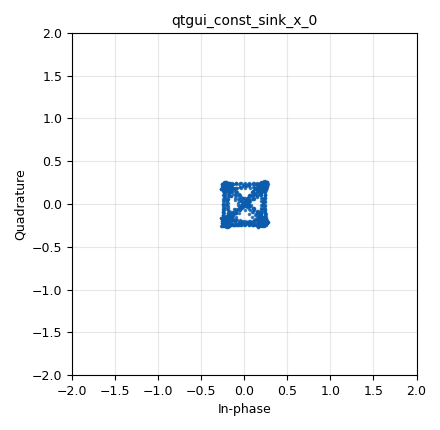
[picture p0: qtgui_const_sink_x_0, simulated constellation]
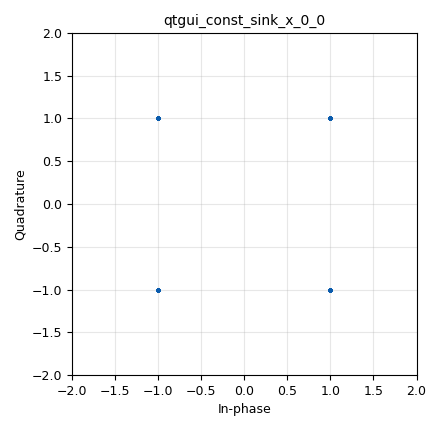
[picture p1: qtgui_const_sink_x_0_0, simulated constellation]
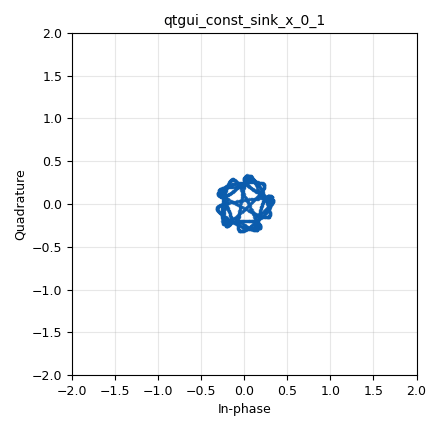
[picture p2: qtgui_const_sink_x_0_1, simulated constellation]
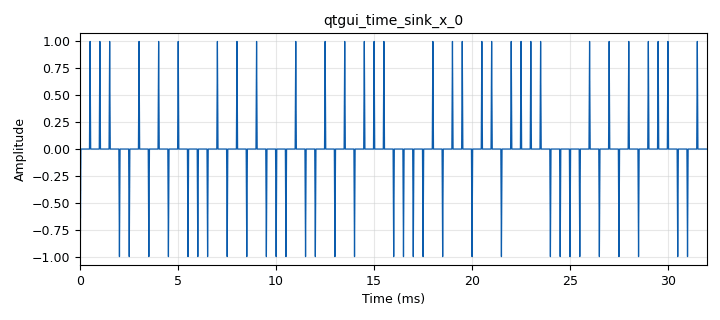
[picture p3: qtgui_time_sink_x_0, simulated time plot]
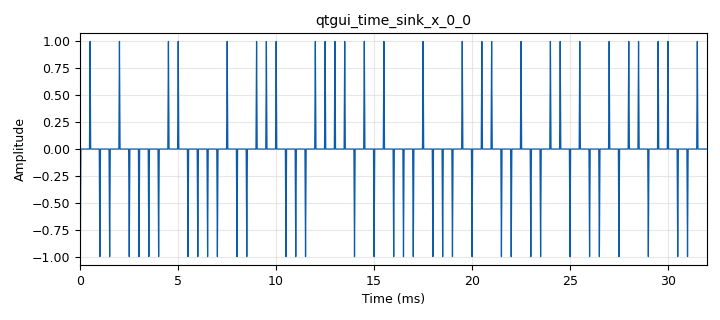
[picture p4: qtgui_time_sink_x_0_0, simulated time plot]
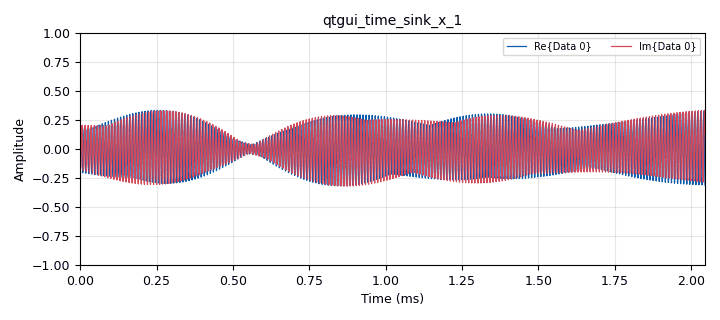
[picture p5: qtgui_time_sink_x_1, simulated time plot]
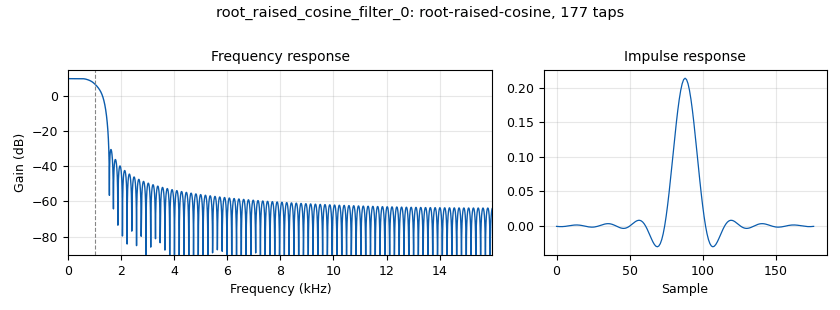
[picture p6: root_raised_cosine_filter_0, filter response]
options:
  parameters:
    generate_options: qt_gui
    id: qpsk
    output_language: python
    title: Not titled yet
  states: {}

blocks:
- name: alpha
  id: variable_qtgui_range
  parameters:
    start: '0'
    step: '0.1'
    stop: '1'
    value: '0.5'
  states: {}
- name: const_points
  id: variable
  parameters:
    value: '4'
  states: {}
- name: samp_rate
  id: variable
  parameters:
    value: '500000'
  states: {}
- name: sps
  id: variable
  parameters:
    value: '16'
  states: {}
- name: symb_rate
  id: variable
  parameters:
    value: '2000'
  states: {}
- name: analog_random_source_x_0
  id: analog_random_source_x
  parameters:
    max: '4'
    min: '0'
    num_samps: '1000'
    repeat: 'True'
    type: byte
  states: {}
- name: analog_sig_source_x_0
  id: analog_sig_source_x
  parameters:
    amp: '1'
    freq: '100000'
    offset: '0'
    phase: '0'
    samp_rate: samp_rate
    type: complex
    waveform: analog.GR_COS_WAVE
  states: {}
- name: blocks_complex_to_imag_0
  id: blocks_complex_to_imag
  parameters: {}
  states: {}
- name: blocks_complex_to_real_0
  id: blocks_complex_to_real
  parameters: {}
  states: {}
- name: blocks_multiply_xx_0
  id: blocks_multiply_xx
  parameters:
    type: complex
  states: {}
- name: digital_chunks_to_symbols_xx_0
  id: digital_chunks_to_symbols_xx
  parameters:
    dimension: '1'
    in_type: byte
    out_type: complex
    symbol_table: ((1-1j),(1+1j),(-1+1j),(-1-1j))
  states: {}
- name: interp_fir_filter_xxx_0
  id: interp_fir_filter_xxx
  parameters:
    interp: sps
    taps: '1'
    type: ccc
  states: {}
- name: qtgui_const_sink_x_0
  id: qtgui_const_sink_x
  parameters:
    gui_hint: tab@0
    size: '1024'
    type: complex
  states: {}
- name: qtgui_const_sink_x_0_0
  id: qtgui_const_sink_x
  parameters:
    gui_hint: tab@0
    size: '1024'
    type: complex
  states: {}
- name: qtgui_const_sink_x_0_1
  id: qtgui_const_sink_x
  parameters:
    gui_hint: tab@0
    size: '1024'
    type: complex
  states: {}
- name: qtgui_time_sink_x_0
  id: qtgui_time_sink_x
  parameters:
    gui_hint: tab@1
    size: '1024'
    srate: symb_rate*sps
    type: float
  states: {}
- name: qtgui_time_sink_x_0_0
  id: qtgui_time_sink_x
  parameters:
    gui_hint: tab@1
    size: '1024'
    srate: symb_rate*sps
    type: float
  states: {}
- name: qtgui_time_sink_x_1
  id: qtgui_time_sink_x
  parameters:
    gui_hint: tab@2
    size: '1024'
    srate: samp_rate
    type: complex
  states: {}
- name: rational_resampler_xxx_0
  id: rational_resampler_xxx
  parameters:
    decim: symb_rate*sps
    interp: samp_rate
    type: ccf
  states: {}
- name: root_raised_cosine_filter_0
  id: root_raised_cosine_filter
  parameters:
    alpha: alpha
    gain: '3'
    interp: '1'
    ntaps: 11*sps
    samp_rate: symb_rate*sps
    sym_rate: symb_rate
    type: interp_fir_filter_ccf
  states: {}
- name: tab
  id: qtgui_tab_widget
  parameters:
    label0: constellation
    label1: before_rrc
    label2: qpsk
    num_tabs: '3'
  states: {}

connections:
- [analog_random_source_x_0, '0', digital_chunks_to_symbols_xx_0, '0']
- [analog_sig_source_x_0, '0', blocks_multiply_xx_0, '1']
- [blocks_complex_to_imag_0, '0', qtgui_time_sink_x_0_0, '0']
- [blocks_complex_to_real_0, '0', qtgui_time_sink_x_0, '0']
- [blocks_multiply_xx_0, '0', qtgui_const_sink_x_0_1, '0']
- [blocks_multiply_xx_0, '0', qtgui_time_sink_x_1, '0']
- [digital_chunks_to_symbols_xx_0, '0', interp_fir_filter_xxx_0, '0']
- [digital_chunks_to_symbols_xx_0, '0', qtgui_const_sink_x_0_0, '0']
- [interp_fir_filter_xxx_0, '0', blocks_complex_to_imag_0, '0']
- [interp_fir_filter_xxx_0, '0', blocks_complex_to_real_0, '0']
- [interp_fir_filter_xxx_0, '0', root_raised_cosine_filter_0, '0']
- [rational_resampler_xxx_0, '0', blocks_multiply_xx_0, '0']
- [root_raised_cosine_filter_0, '0', qtgui_const_sink_x_0, '0']
- [root_raised_cosine_filter_0, '0', rational_resampler_xxx_0, '0']

metadata:
  file_format: 1
  grc_version: 3.9.8.0-rc1
